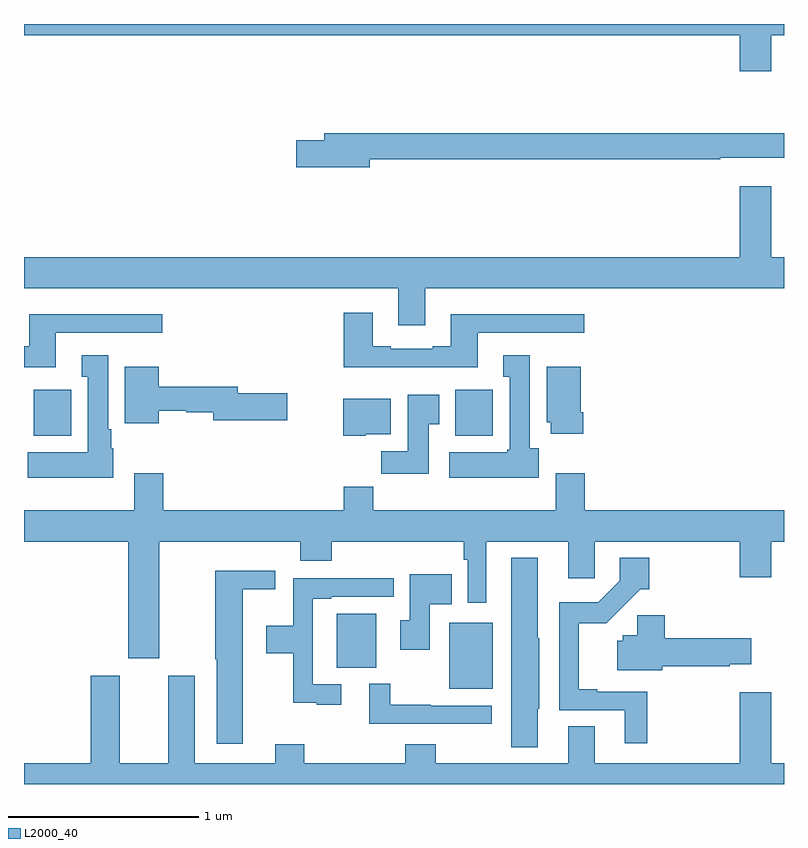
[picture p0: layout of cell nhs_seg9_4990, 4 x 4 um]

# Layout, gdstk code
import gdstk
lib = gdstk.Library(unit=1e-6, precision=1e-09)
def R(c, l, rs):  # rectangles x0, y0, x1, y1
    for r in rs: c.add(gdstk.rectangle(r[:2], r[2:], *l))
def P(c, l, *ps):  # polygons
    for p in ps: c.add(gdstk.Polygon(p, *l))
L2000_40 = (2000, 40)

nhs_seg9_4990 = lib.new_cell('nhs_seg9_4990')
R(nhs_seg9_4990, L2000_40, [(403.238,1173.002,403.468,1173.349), (402.647,1173.113,402.853,1173.397), (401.051,1174.334,401.248,1174.576), (403.271,1174.334,403.468,1174.576)])
P(nhs_seg9_4990, L2000_40, [(404.932,1176.44),(405,1176.44),(405,1176.5),(401,1176.5),(401,1176.44),(404.768,1176.44),(404.768,1176.252),(404.932,1176.252)],
  [(402.82,1175.788),(404.664,1175.788),(404.664,1175.795),(405,1175.795),(405,1175.925),(404.664,1175.925),(404.664,1175.924),(402.581,1175.924),(402.581,1175.888),(402.432,1175.888),(402.432,1175.746),(402.82,1175.746)],
  [(403.111,1175.108),(405,1175.108),(405,1175.272),(404.932,1175.272),(404.932,1175.647),(404.768,1175.647),(404.768,1175.272),(401,1175.272),(401,1175.108),(402.971,1175.108),(402.971,1174.914),(403.111,1174.914)],
  [(403.387,1174.875),(403.948,1174.875),(403.948,1174.972),(403.247,1174.972),(403.247,1174.804),(403.151,1174.804),(403.151,1174.791),(402.931,1174.791),(402.931,1174.804),(402.835,1174.804),(402.835,1174.981),(402.683,1174.981),(402.683,1174.694),(403.387,1174.694)],
  [(401.167,1174.875),(401.728,1174.875),(401.728,1174.972),(401.027,1174.972),(401.027,1174.804),(401,1174.804),(401,1174.694),(401.167,1174.694)],
  [(403.708,1174.266),(403.663,1174.266),(403.663,1174.756),(403.523,1174.756),(403.523,1174.643),(403.556,1174.643),(403.556,1174.26),(403.543,1174.26),(403.543,1174.246),(403.239,1174.246),(403.239,1174.112),(403.708,1174.112)],
  [(401.47,1174.266),(401.458,1174.266),(401.458,1174.366),(401.443,1174.366),(401.443,1174.756),(401.303,1174.756),(401.303,1174.643),(401.336,1174.643),(401.336,1174.246),(401.019,1174.246),(401.019,1174.112),(401.47,1174.112)],
  [(403.943,1174.456),(403.93,1174.456),(403.93,1174.696),(403.751,1174.696),(403.751,1174.404),(403.772,1174.404),(403.772,1174.344),(403.943,1174.344)],
  [(401.71,1174.464),(401.853,1174.464),(401.853,1174.456),(401.996,1174.456),(401.996,1174.414),(402.385,1174.414),(402.385,1174.556),(402.124,1174.556),(402.124,1174.592),(401.71,1174.592),(401.71,1174.696),(401.531,1174.696),(401.531,1174.4),(401.71,1174.4)],
  [(403.129,1174.393),(403.186,1174.393),(403.186,1174.549),(403.019,1174.549),(403.019,1174.252),(402.88,1174.252),(402.88,1174.134),(403.129,1174.134)],
  [(402.798,1174.34),(402.931,1174.34),(402.931,1174.528),(402.68,1174.528),(402.68,1174.334),(402.798,1174.334)],
  [(401.713,1173.776),(402.455,1173.776),(402.455,1173.674),(402.62,1173.674),(402.62,1173.776),(403.315,1173.776),(403.315,1173.68),(403.335,1173.68),(403.335,1173.453),(403.432,1173.453),(403.432,1173.776),(403.865,1173.776),(403.865,1173.582),(404.004,1173.582),(404.004,1173.776),(404.768,1173.776),(404.768,1173.588),(404.932,1173.588),(404.932,1173.776),(405,1173.776),(405,1173.94),(403.952,1173.94),(403.952,1174.135),(403.799,1174.135),(403.799,1173.94),(402.839,1173.94),(402.839,1174.064),(402.683,1174.064),(402.683,1173.94),(401.732,1173.94),(401.732,1174.135),(401.579,1174.135),(401.579,1173.94),(401,1173.94),(401,1173.776),(401.549,1173.776),(401.549,1173.162),(401.713,1173.162)],
  [(404.279,1172.985),(404.017,1172.985),(404.017,1172.998),(403.921,1172.998),(403.921,1173.347),(404.065,1173.347),(404.243,1173.524),(404.292,1173.524),(404.292,1173.691),(404.136,1173.691),(404.136,1173.57),(404.022,1173.456),(403.817,1173.456),(403.817,1172.889),(404.162,1172.889),(404.162,1172.715),(404.279,1172.715)],
  [(403.705,1172.895),(403.711,1172.895),(403.711,1173.267),(403.705,1173.267),(403.705,1173.691),(403.565,1173.691),(403.565,1172.693),(403.705,1172.693)],
  [(402.151,1173.524),(402.322,1173.524),(402.322,1173.622),(402.007,1173.622),(402.007,1173.157),(402.014,1173.157),(402.014,1172.712),(402.151,1172.712)],
  [(403.135,1173.446),(403.25,1173.446),(403.25,1173.604),(403.031,1173.604),(403.031,1173.363),(402.981,1173.363),(402.981,1173.207),(403.135,1173.207)],
  [(402.67,1173.024),(402.519,1173.024),(402.519,1173.474),(402.616,1173.474),(402.616,1173.486),(402.946,1173.486),(402.946,1173.584),(402.703,1173.584),(402.703,1173.582),(402.418,1173.582),(402.418,1173.334),(402.276,1173.334),(402.276,1173.187),(402.418,1173.187),(402.418,1172.927),(402.542,1172.927),(402.542,1172.916),(402.67,1172.916)],
  [(404.359,1173.119),(404.714,1173.119),(404.714,1173.131),(404.827,1173.131),(404.827,1173.266),(404.372,1173.266),(404.372,1173.387),(404.227,1173.387),(404.227,1173.282),(404.151,1173.282),(404.151,1173.255),(404.123,1173.255),(404.123,1173.098),(404.359,1173.098)],
  [(405,1172.608),(404.932,1172.608),(404.932,1172.983),(404.768,1172.983),(404.768,1172.608),(404.005,1172.608),(404.005,1172.803),(403.865,1172.803),(403.865,1172.608),(403.167,1172.608),(403.167,1172.71),(403.007,1172.71),(403.007,1172.608),(402.476,1172.608),(402.476,1172.71),(402.323,1172.71),(402.323,1172.608),(401.899,1172.608),(401.899,1173.07),(401.759,1173.07),(401.759,1172.608),(401.503,1172.608),(401.503,1173.07),(401.351,1173.07),(401.351,1172.608),(401,1172.608),(401,1172.5),(405,1172.5)],
  [(403.462,1172.913),(403.142,1172.913),(403.142,1172.918),(402.928,1172.918),(402.928,1173.028),(402.818,1173.028),(402.818,1172.817),(403.462,1172.817)])

lib.write_gds('nhs_seg9_4990.gds')
